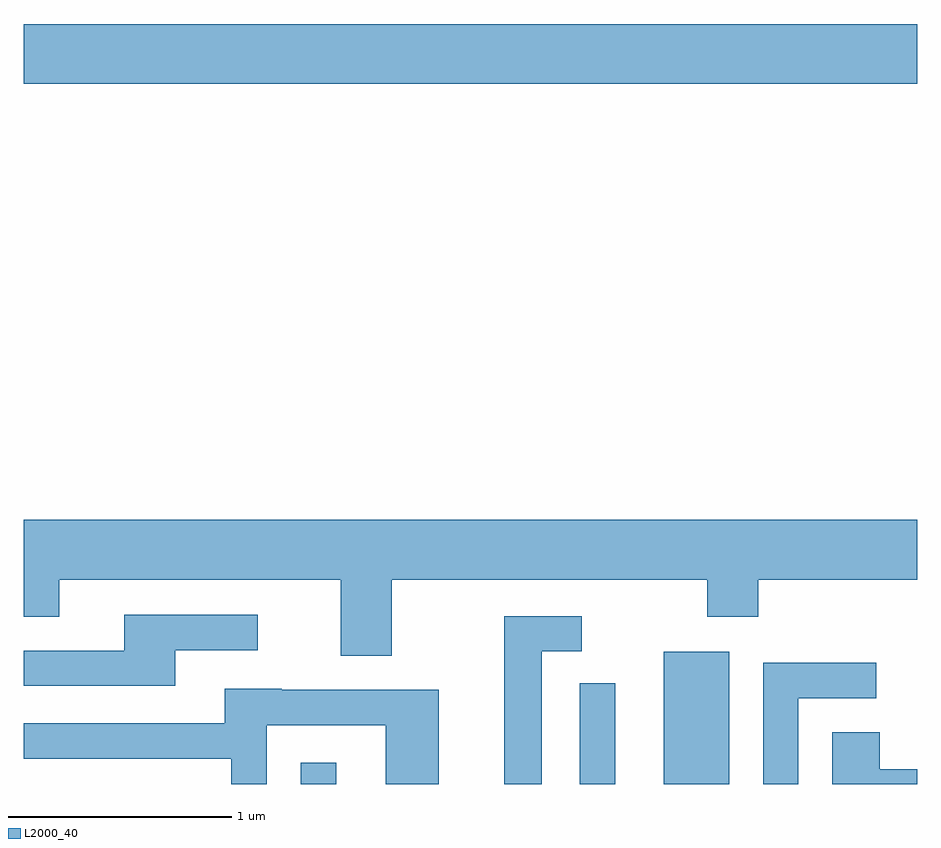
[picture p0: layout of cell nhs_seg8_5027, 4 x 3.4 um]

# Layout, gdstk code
import gdstk
lib = gdstk.Library(unit=1e-6, precision=1e-09)
def R(c, l, rs):  # rectangles x0, y0, x1, y1
    for r in rs: c.add(gdstk.rectangle(r[:2], r[2:], *l))
def P(c, l, *ps):  # polygons
    for p in ps: c.add(gdstk.Polygon(p, *l))
L2000_40 = (2000, 40)

nhs_seg8_5027 = lib.new_cell('nhs_seg8_5027')
R(nhs_seg8_5027, L2000_40, [(336.851,1884.342,337.009,1884.438), (338.101,1884.342,338.259,1884.793), (338.476,1884.342,338.769,1884.934), (335.611,1887.476,339.611,1887.744)])
P(nhs_seg8_5027, L2000_40, [(337.259,1885.256),(338.671,1885.256),(338.671,1885.091),(338.899,1885.091),(338.899,1885.256),(339.611,1885.256),(339.611,1885.524),(335.611,1885.524),(335.611,1885.091),(335.769,1885.091),(335.769,1885.256),(337.031,1885.256),(337.031,1884.916),(337.259,1884.916)],
  [(336.289,1884.941),(336.658,1884.941),(336.658,1885.099),(336.061,1885.099),(336.061,1884.939),(335.611,1884.939),(335.611,1884.781),(336.289,1884.781)],
  [(337.929,1884.936),(338.108,1884.936),(338.108,1885.094),(337.761,1885.094),(337.761,1884.342),(337.929,1884.342)],
  [(339.079,1884.726),(339.428,1884.726),(339.428,1884.884),(338.921,1884.884),(338.921,1884.342),(339.079,1884.342)],
  [(336.699,1884.606),(337.231,1884.606),(337.231,1884.342),(337.469,1884.342),(337.469,1884.764),(336.765,1884.764),(336.765,1884.769),(336.511,1884.769),(336.511,1884.614),(335.611,1884.614),(335.611,1884.456),(336.541,1884.456),(336.541,1884.342),(336.699,1884.342)],
  [(339.611,1884.409),(339.444,1884.409),(339.444,1884.574),(339.231,1884.574),(339.231,1884.342),(339.611,1884.342)])

lib.write_gds('nhs_seg8_5027.gds')
